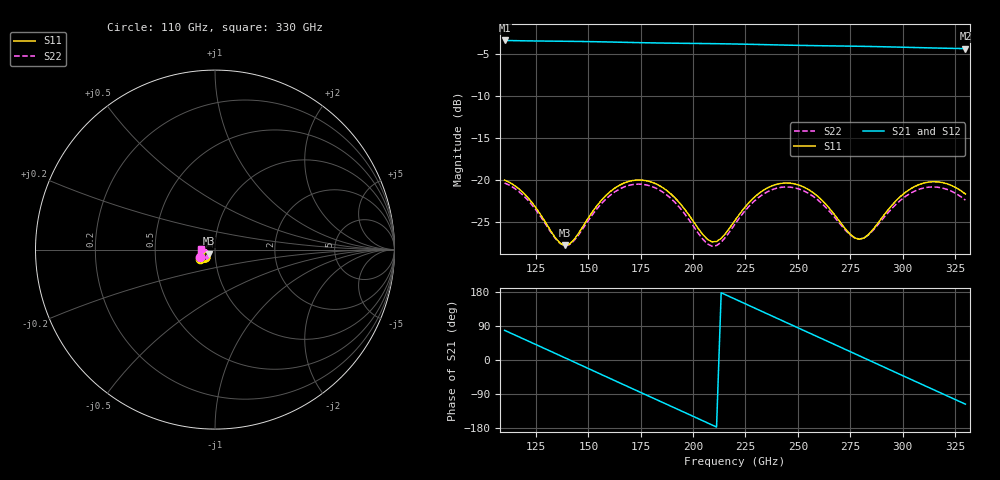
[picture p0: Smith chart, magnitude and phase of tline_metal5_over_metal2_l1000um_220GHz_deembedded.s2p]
! Created with skrf 2.0.1 (http://scikit-rf.org).
# GHz S DB R 50.0
!freq dBS11 angS11 dBS21 angS21 dBS12 angS12 dBS22 angS22
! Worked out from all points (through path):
!   101 points, 110 GHz to 330 GHz, reference 50 ohm
!   highest |S21| = -3.34 dB at 110 GHz (marker M1); lowest = -4.3 dB at 330 GHz (marker M2)
!   group delay of S21, straight-line fit = 7.01 ps
!   lowest |S11| = -27.8 dB at 138.6 GHz (marker M3), VSWR 1.09, Z = 46.7 - j2.19 ohm
!   |S11| at or under -10 dB: start of sweep to end of sweep
!   |S22| runs from -27.9 to -20.3 dB; largest |S21 - S12| = 7.3e-14
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110  -19.98 -149.0  -3.34 78.2  -3.34 78.2  -20.33 -153.6
125.4  -23.43 -167.3  -3.40 39.6  -3.40 39.6  -23.69 -172.4
138.6  -27.76 -145.1  -3.44 6.3  -3.44 6.3  -27.79 -152.4
147.4  -25.50 -121.6  -3.47 -16.0  -3.47 -16.0  -25.75 -130.7
156.2  -22.39 -121.9  -3.50 -38.3  -3.50 -38.3  -22.79 -131.1
167.2  -20.31 -135.3  -3.56 -66.0  -3.56 -66.0  -20.78 -144.8
176  -19.99 -148.7  -3.61 -88.2  -3.61 -88.2  -20.48 -158.4
184.8  -20.76 -161.3  -3.65 -110.3  -3.65 -110.3  -21.29 -171.4
198  -24.13 -170.9  -3.69 -143.6  -3.69 -143.6  -24.70 178.8
209  -27.34 -150.7  -3.72 -171.4  -3.72 -171.4  -27.85 -161.0
220  -24.78 -125.9  -3.76 160.8  -3.76 160.8  -25.21 -137.2
231  -21.64 -129.8  -3.82 133.0  -3.82 133.0  -22.10 -141.9
239.8  -20.48 -140.5  -3.87 110.8  -3.87 110.8  -20.95 -153.0
248.6  -20.44 -152.6  -3.92 88.6  -3.92 88.6  -20.91 -165.4
257.4  -21.49 -163.2  -3.95 66.5  -3.95 66.5  -21.93 -176.2
268.4  -24.38 -167.6  -3.99 38.8  -3.99 38.8  -24.67 179.2
279.4  -27.03 -146.2  -4.04 11.0  -4.04 11.0  -27.01 -161.8
294.8  -23.01 -123.9  -4.11 -27.9  -4.11 -27.9  -23.39 -142.8
303.6  -21.05 -130.4  -4.17 -50.2  -4.17 -50.2  -21.57 -149.6
312.4  -20.21 -141.0  -4.22 -72.3  -4.22 -72.3  -20.82 -160.5
321.2  -20.41 -152.1  -4.27 -94.4  -4.27 -94.4  -21.09 -171.9
330  -21.64 -160.8  -4.31 -116.5  -4.31 -116.5  -22.37 179.1
